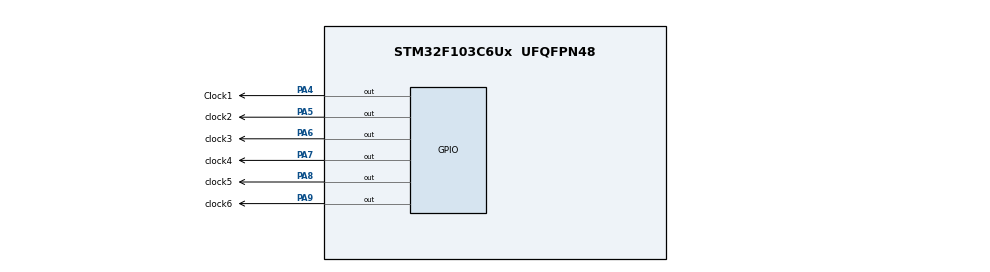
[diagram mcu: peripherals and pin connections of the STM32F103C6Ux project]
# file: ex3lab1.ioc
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Mcu.Family=STM32F1
Mcu.Name=STM32F103C6Ux
Mcu.Package=UFQFPN48
NVIC.PriorityGroup=NVIC_PRIORITYGROUP_4
PA4.GPIO_Label=Clock1
PA4.Signal=GPIO_Output
PA5.GPIO_Label=clock2
PA5.Signal=GPIO_Output
PA6.GPIO_Label=clock3
PA6.Signal=GPIO_Output
PA7.GPIO_Label=clock4
PA7.Signal=GPIO_Output
PA8.GPIO_Label=clock5
PA8.Signal=GPIO_Output
PA9.GPIO_Label=clock6
PA9.Signal=GPIO_Output
ProjectManager.HeapSize=0x200
ProjectManager.StackSize=0x400
ProjectManager.TargetToolchain=STM32CubeIDE
RCC.APB1Freq_Value=8000000
RCC.APB2Freq_Value=8000000
VP_SYS_VS_ND.Mode=No_Debug
board=custom

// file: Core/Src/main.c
/* USER CODE BEGIN Header */
/**
  ******************************************************************************
  * @file           : main.c
  * @brief          : Main program body - Lab 1 Exercise 3 (PA4 -> PA9)
  ******************************************************************************
  * @attention
  *
  * Copyright (c) 2026 STMicroelectronics.
  * All rights reserved.
  *
  * This software component is licensed by ST under BSD 3-Clause license,
  * the "License"; You may not use this file except in compliance with the
  * License. You may obtain a copy of the License at:
  *                        opensource.org/licenses/BSD-3-Clause
  *
  ******************************************************************************
  */
/* USER CODE END Header */
#include "main.h"

void SystemClock_Config(void);
static void MX_GPIO_Init(void);

int main(void)
{

  /* MCU Configuration--------------------------------------------------------*/

  /* Reset of all peripherals, Initializes the Flash interface and the Systick. */
  HAL_Init();

  /* Configure the system clock */
  SystemClock_Config();

  /* Initialize all configured peripherals */
  MX_GPIO_Init();

  /* Infinite loop */
  while (1)
  {

    /* USER CODE BEGIN 3 */
    // PHA 1 (3 GIÂY): Làn 1 XANH (PA4) | Làn 2 ĐỎ (PA9)
    HAL_GPIO_WritePin(GPIOA, GPIO_PIN_4, GPIO_PIN_SET);   // GREEN 1 ON
    HAL_GPIO_WritePin(GPIOA, GPIO_PIN_5, GPIO_PIN_RESET); // YELLOW 1 OFF
    HAL_GPIO_WritePin(GPIOA, GPIO_PIN_6, GPIO_PIN_RESET); // RED 1 OFF

    HAL_GPIO_WritePin(GPIOA, GPIO_PIN_7, GPIO_PIN_RESET); // GREEN 2 OFF
    HAL_GPIO_WritePin(GPIOA, GPIO_PIN_8, GPIO_PIN_RESET); // YELLOW 2 OFF
    HAL_GPIO_WritePin(GPIOA, GPIO_PIN_9, GPIO_PIN_SET);   // RED 2 ON
    HAL_Delay(3000);

    // PHA 2 (2 GIÂY): Làn 1 VÀNG (PA5) | Làn 2 ĐỎ (PA9)
    HAL_GPIO_WritePin(GPIOA, GPIO_PIN_4, GPIO_PIN_RESET); // GREEN 1 OFF
    HAL_GPIO_WritePin(GPIOA, GPIO_PIN_5, GPIO_PIN_SET);   // YELLOW 1 ON
    HAL_GPIO_WritePin(GPIOA, GPIO_PIN_6, GPIO_PIN_RESET); // RED 1 OFF

    HAL_GPIO_WritePin(GPIOA, GPIO_PIN_7, GPIO_PIN_RESET); // GREEN 2 OFF
    HAL_GPIO_WritePin(GPIOA, GPIO_PIN_8, GPIO_PIN_RESET); // YELLOW 2 OFF
    HAL_GPIO_WritePin(GPIOA, GPIO_PIN_9, GPIO_PIN_SET);   // RED 2 ON
    HAL_Delay(2000);

    // PHA 3 (3 GIÂY): Làn 1 ĐỎ (PA6) | Làn 2 XANH (PA7)
    HAL_GPIO_WritePin(GPIOA, GPIO_PIN_4, GPIO_PIN_RESET); // GREEN 1 OFF
    HAL_GPIO_WritePin(GPIOA, GPIO_PIN_5, GPIO_PIN_RESET); // YELLOW 1 OFF
    HAL_GPIO_WritePin(GPIOA, GPIO_PIN_6, GPIO_PIN_SET);   // RED 1 ON

    HAL_GPIO_WritePin(GPIOA, GPIO_PIN_7, GPIO_PIN_SET);   // GREEN 2 ON
    HAL_GPIO_WritePin(GPIOA, GPIO_PIN_8, GPIO_PIN_RESET); // YELLOW 2 OFF
    HAL_GPIO_WritePin(GPIOA, GPIO_PIN_9, GPIO_PIN_RESET); // RED 2 OFF
    HAL_Delay(3000);

    // PHA 4 (2 GIÂY): Làn 1 ĐỎ (PA6) | Làn 2 VÀNG (PA8)
    HAL_GPIO_WritePin(GPIOA, GPIO_PIN_4, GPIO_PIN_RESET); // GREEN 1 OFF
    HAL_GPIO_WritePin(GPIOA, GPIO_PIN_5, GPIO_PIN_RESET); // YELLOW 1 OFF
    HAL_GPIO_WritePin(GPIOA, GPIO_PIN_6, GPIO_PIN_SET);   // RED 1 ON

    HAL_GPIO_WritePin(GPIOA, GPIO_PIN_7, GPIO_PIN_RESET); // GREEN 2 OFF
    HAL_GPIO_WritePin(GPIOA, GPIO_PIN_8, GPIO_PIN_SET);   // YELLOW 2 ON
    HAL_GPIO_WritePin(GPIOA, GPIO_PIN_9, GPIO_PIN_RESET); // RED 2 OFF
    HAL_Delay(2000);
  }
  /* USER CODE END 3 */
}

void SystemClock_Config(void)
{
  RCC_OscInitTypeDef RCC_OscInitStruct = {0};
  RCC_ClkInitTypeDef RCC_ClkInitStruct = {0};

  RCC_OscInitStruct.OscillatorType = RCC_OSCILLATORTYPE_HSI;
  RCC_OscInitStruct.HSIState = RCC_HSI_ON;
  RCC_OscInitStruct.HSICalibrationValue = RCC_HSICALIBRATION_DEFAULT;
  RCC_OscInitStruct.PLL.PLLState = RCC_PLL_NONE;
  if (HAL_RCC_OscConfig(&RCC_OscInitStruct) != HAL_OK)
  {
    Error_Handler();
  }

  RCC_ClkInitStruct.ClockType = RCC_CLOCKTYPE_HCLK|RCC_CLOCKTYPE_SYSCLK
                              |RCC_CLOCKTYPE_PCLK1|RCC_CLOCKTYPE_PCLK2;
  RCC_ClkInitStruct.SYSCLKSource = RCC_SYSCLKSOURCE_HSI;
  RCC_ClkInitStruct.AHBCLKDivider = RCC_SYSCLK_DIV1;
  RCC_ClkInitStruct.APB1CLKDivider = RCC_HCLK_DIV1;
  RCC_ClkInitStruct.APB2CLKDivider = RCC_HCLK_DIV1;

  if (HAL_RCC_ClockConfig(&RCC_ClkInitStruct, FLASH_LATENCY_0) != HAL_OK)
  {
    Error_Handler();
  }
}

static void MX_GPIO_Init(void)
{
  GPIO_InitTypeDef GPIO_InitStruct = {0};

  /* GPIO Ports Clock Enable */
  __HAL_RCC_GPIOA_CLK_ENABLE();

  /* Ban đầu TẮT tất cả 6 đèn (Active HIGH -> RESET = Tắt) */
  HAL_GPIO_WritePin(GPIOA,
    GPIO_PIN_4 | GPIO_PIN_5 | GPIO_PIN_6 |
    GPIO_PIN_7 | GPIO_PIN_8 | GPIO_PIN_9, GPIO_PIN_RESET);

  /* Cấu hình PA4 -> PA9 làm Output Push-Pull */
  GPIO_InitStruct.Pin =
    GPIO_PIN_4 | GPIO_PIN_5 | GPIO_PIN_6 |
    GPIO_PIN_7 | GPIO_PIN_8 | GPIO_PIN_9;
  GPIO_InitStruct.Mode = GPIO_MODE_OUTPUT_PP;
  GPIO_InitStruct.Pull = GPIO_NOPULL;
  GPIO_InitStruct.Speed = GPIO_SPEED_FREQ_LOW;
  HAL_GPIO_Init(GPIOA, &GPIO_InitStruct);
}

void Error_Handler(void)
{
  __disable_irq();
  while (1)
  {
  }
}
